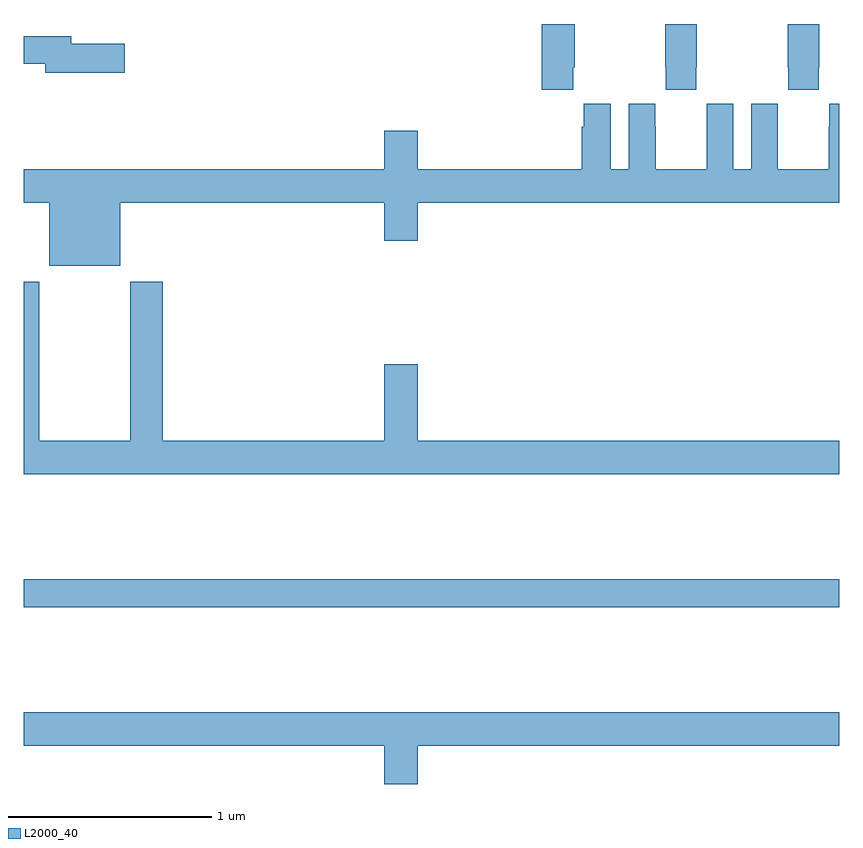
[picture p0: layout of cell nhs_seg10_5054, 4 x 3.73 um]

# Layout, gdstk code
import gdstk
lib = gdstk.Library(unit=1e-6, precision=1e-09)
def R(c, l, rs):  # rectangles x0, y0, x1, y1
    for r in rs: c.add(gdstk.rectangle(r[:2], r[2:], *l))
def P(c, l, *ps):  # polygons
    for p in ps: c.add(gdstk.Polygon(p, *l))
L2000_40 = (2000, 40)

nhs_seg10_5054 = lib.new_cell('nhs_seg10_5054')
R(nhs_seg10_5054, L2000_40, [(403,1323.64,407,1323.776)])
P(nhs_seg10_5054, L2000_40, [(405.695,1326.289),(405.702,1326.289),(405.702,1326.5),(405.542,1326.5),(405.542,1326.177),(405.695,1326.177)],
  [(406.299,1326.289),(406.302,1326.289),(406.302,1326.5),(406.147,1326.5),(406.147,1326.289),(406.149,1326.289),(406.149,1326.177),(406.299,1326.177)],
  [(406.899,1326.289),(406.902,1326.289),(406.902,1326.5),(406.747,1326.5),(406.747,1326.289),(406.749,1326.289),(406.749,1326.177),(406.899,1326.177)],
  [(403.495,1326.404),(403.234,1326.404),(403.234,1326.44),(403,1326.44),(403,1326.304),(403.106,1326.304),(403.106,1326.262),(403.495,1326.262)],
  [(403.474,1325.624),(404.768,1325.624),(404.768,1325.436),(404.932,1325.436),(404.932,1325.624),(407,1325.624),(407,1326.109),(406.95,1326.109),(406.95,1325.996),(406.949,1325.996),(406.949,1325.788),(406.699,1325.788),(406.699,1325.996),(406.698,1325.996),(406.698,1326.109),(406.568,1326.109),(406.568,1325.788),(406.48,1325.788),(406.48,1326.109),(406.35,1326.109),(406.35,1325.996),(406.349,1325.996),(406.349,1325.788),(406.099,1325.788),(406.099,1325.996),(406.098,1325.996),(406.098,1326.109),(405.968,1326.109),(405.968,1325.788),(405.88,1325.788),(405.88,1326.109),(405.746,1326.109),(405.746,1325.996),(405.737,1325.996),(405.737,1325.788),(404.932,1325.788),(404.932,1325.977),(404.768,1325.977),(404.768,1325.788),(403,1325.788),(403,1325.624),(403.124,1325.624),(403.124,1325.315),(403.474,1325.315)],
  [(407,1324.456),(404.932,1324.456),(404.932,1324.831),(404.768,1324.831),(404.768,1324.456),(403.682,1324.456),(403.682,1325.236),(403.522,1325.236),(403.522,1324.456),(403.077,1324.456),(403.077,1325.236),(403,1325.236),(403,1324.292),(407,1324.292)],
  [(404.932,1322.96),(407,1322.96),(407,1323.124),(403,1323.124),(403,1322.96),(404.768,1322.96),(404.768,1322.772),(404.932,1322.772)])

lib.write_gds('nhs_seg10_5054.gds')
